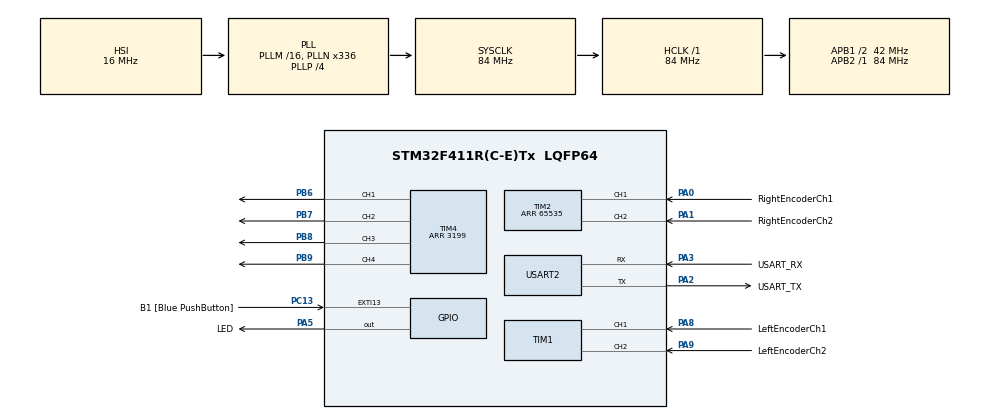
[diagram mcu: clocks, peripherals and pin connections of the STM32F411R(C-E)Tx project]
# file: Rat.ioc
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Mcu.Family=STM32F4
Mcu.Name=STM32F411R(C-E)Tx
Mcu.Package=LQFP64
NVIC.EXTI15_10_IRQn=true\:0\:0\:false\:false\:true\:true\:true\:true
NVIC.PriorityGroup=NVIC_PRIORITYGROUP_0
NVIC.TIM4_IRQn=true\:0\:0\:false\:false\:true\:true\:true\:true
PA0-WKUP.GPIO_Label=RightEncoderCh1
PA0-WKUP.Signal=S_TIM2_CH1_ETR
PA1.GPIO_Label=RightEncoderCh2
PA1.Signal=S_TIM2_CH2
PA13.GPIO_Label=TMS
PA13.Mode=Serial_Wire
PA13.Signal=SYS_JTMS-SWDIO
PA14.GPIO_Label=TCK
PA14.Mode=Serial_Wire
PA14.Signal=SYS_JTCK-SWCLK
PA2.GPIO_Label=USART_TX
PA2.Mode=Asynchronous
PA2.Signal=USART2_TX
PA3.GPIO_Label=USART_RX
PA3.Mode=Asynchronous
PA3.Signal=USART2_RX
PA5.GPIO_Label=LED
PA5.Signal=GPIO_Output
PA8.GPIO_Label=LeftEncoderCh1
PA8.Signal=S_TIM1_CH1
PA9.GPIO_Label=LeftEncoderCh2
PA9.Signal=S_TIM1_CH2
PB3.GPIO_Label=SWO
PB3.Signal=SYS_JTDO-SWO
PB6.Signal=S_TIM4_CH1
PB7.Signal=S_TIM4_CH2
PB8.Signal=S_TIM4_CH3
PB9.Signal=S_TIM4_CH4
PC13-ANTI_TAMP.GPIO_Label=B1 [Blue PushButton]
PC13-ANTI_TAMP.GPIO_ModeDefaultEXTI=GPIO_MODE_IT_RISING_FALLING
PC13-ANTI_TAMP.Signal=GPXTI13
PC14-OSC32_IN.Mode=LSE-External-Oscillator
PC14-OSC32_IN.Signal=RCC_OSC32_IN
PC15-OSC32_OUT.Mode=LSE-External-Oscillator
PC15-OSC32_OUT.Signal=RCC_OSC32_OUT
PH0\ -\ OSC_IN.Mode=HSE-External-Clock-Source
PH0\ -\ OSC_IN.Signal=RCC_OSC_IN
PH1\ -\ OSC_OUT.Mode=HSE-External-Clock-Source
PH1\ -\ OSC_OUT.Signal=RCC_OSC_OUT
ProjectManager.HeapSize=0x200
ProjectManager.StackSize=0x400
ProjectManager.TargetToolchain=STM32CubeIDE
RCC.48MHZClocksFreq_Value=84000000
RCC.AHBFreq_Value=84000000
RCC.APB1CLKDivider=RCC_HCLK_DIV2
RCC.APB1Freq_Value=42000000
RCC.APB1TimFreq_Value=84000000
RCC.APB2Freq_Value=84000000
RCC.APB2TimFreq_Value=84000000
RCC.CortexFreq_Value=84000000
RCC.FLatency-AdvancedSettings=FLASH_LATENCY_2
RCC.HCLKFreq_Value=84000000
RCC.HSE_VALUE=8000000
RCC.HSI_VALUE=16000000
RCC.PLLN=336
RCC.PLLP=RCC_PLLP_DIV4
RCC.SYSCLKFreq_VALUE=84000000
RCC.SYSCLKSource=RCC_SYSCLKSOURCE_PLLCLK
RCC.VCOOutputFreq_Value=336000000
SH.S_TIM1_CH1.0=TIM1_CH1,Encoder_Interface
SH.S_TIM1_CH2.0=TIM1_CH2,Encoder_Interface
SH.S_TIM2_CH1_ETR.0=TIM2_CH1,Encoder_Interface
SH.S_TIM2_CH2.0=TIM2_CH2,Encoder_Interface
SH.S_TIM4_CH1.0=TIM4_CH1,PWM Generation1 CH1
SH.S_TIM4_CH2.0=TIM4_CH2,PWM Generation2 CH2
SH.S_TIM4_CH3.0=TIM4_CH3,PWM Generation3 CH3
SH.S_TIM4_CH4.0=TIM4_CH4,PWM Generation4 CH4
TIM1.EncoderMode=TIM_ENCODERMODE_TI12
TIM2.EncoderMode=TIM_ENCODERMODE_TI12
TIM2.Period=65535
TIM4.Channel-PWM\ Generation1\ CH1=TIM_CHANNEL_1
TIM4.Channel-PWM\ Generation2\ CH2=TIM_CHANNEL_2
TIM4.Channel-PWM\ Generation3\ CH3=TIM_CHANNEL_3
TIM4.Channel-PWM\ Generation4\ CH4=TIM_CHANNEL_4
TIM4.Period=3199
USART2.VirtualMode=VM_ASYNC
board=NUCLEO-F411RE

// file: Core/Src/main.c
/* USER CODE BEGIN Header */
/**
  ******************************************************************************
  * @file           : main.c
  * @brief          : Main program body
  ******************************************************************************
  * @attention
  *
  * Copyright (c) 2023 STMicroelectronics.
  * All rights reserved.
  *
  * This software is licensed under terms that can be found in the LICENSE file
  * in the root directory of this software component.
  * If no LICENSE file comes with this software, it is provided AS-IS.
  *
  ******************************************************************************
  */
/* USER CODE END Header */

/* USER CODE BEGIN Includes */
#include "main.h"
#include "motors.h"
#include "encoders.h"
#include "controller.h"
/* USER CODE END Includes */

TIM_HandleTypeDef htim1;
TIM_HandleTypeDef htim2;
TIM_HandleTypeDef htim4;

UART_HandleTypeDef huart2;

/* USER CODE BEGIN PV */
int16_t left_counts = 0;
int16_t right_counts = 0;
/* USER CODE END PV */

void SystemClock_Config(void);
static void MX_GPIO_Init(void);
static void MX_USART2_UART_Init(void);
static void MX_TIM1_Init(void);
static void MX_TIM2_Init(void);
static void MX_TIM4_Init(void);

int main(void)
{

  /* MCU Configuration--------------------------------------------------------*/

  /* Reset of all peripherals, Initializes the Flash interface and the Systick. */
  HAL_Init();

  /* Configure the system clock */
  SystemClock_Config();

  /* Initialize all configured peripherals */
  MX_GPIO_Init();
  MX_USART2_UART_Init();
  MX_TIM1_Init();
  MX_TIM2_Init();
  MX_TIM4_Init();

  /* USER CODE BEGIN 2 */
  HAL_TIM_Encoder_Start(&htim1, TIM_CHANNEL_ALL);
  HAL_TIM_Encoder_Start(&htim2, TIM_CHANNEL_ALL);

  HAL_TIM_PWM_Start(&htim4, TIM_CHANNEL_1);
  HAL_TIM_PWM_Start(&htim4, TIM_CHANNEL_2);
  HAL_TIM_PWM_Start(&htim4, TIM_CHANNEL_3);
  HAL_TIM_PWM_Start(&htim4, TIM_CHANNEL_4);
  /* USER CODE END 2 */

  /* Infinite loop */
  /* USER CODE BEGIN WHILE */
  while (1)
  {
	  left_counts = getLeftEncoderCounts();
	  right_counts = getRightEncoderCounts();
    /* USER CODE END WHILE */

  }
}

void SystemClock_Config(void)
{
  RCC_OscInitTypeDef RCC_OscInitStruct = {0};
  RCC_ClkInitTypeDef RCC_ClkInitStruct = {0};

  /** Configure the main internal regulator output voltage
  */
  __HAL_RCC_PWR_CLK_ENABLE();
  __HAL_PWR_VOLTAGESCALING_CONFIG(PWR_REGULATOR_VOLTAGE_SCALE1);

  /** Initializes the RCC Oscillators according to the specified parameters
  * in the RCC_OscInitTypeDef structure.
  */
  RCC_OscInitStruct.OscillatorType = RCC_OSCILLATORTYPE_HSI;
  RCC_OscInitStruct.HSIState = RCC_HSI_ON;
  RCC_OscInitStruct.HSICalibrationValue = RCC_HSICALIBRATION_DEFAULT;
  RCC_OscInitStruct.PLL.PLLState = RCC_PLL_ON;
  RCC_OscInitStruct.PLL.PLLSource = RCC_PLLSOURCE_HSI;
  RCC_OscInitStruct.PLL.PLLM = 16;
  RCC_OscInitStruct.PLL.PLLN = 336;
  RCC_OscInitStruct.PLL.PLLP = RCC_PLLP_DIV4;
  RCC_OscInitStruct.PLL.PLLQ = 4;
  if (HAL_RCC_OscConfig(&RCC_OscInitStruct) != HAL_OK)
  {
    Error_Handler();
  }

  /** Initializes the CPU, AHB and APB buses clocks
  */
  RCC_ClkInitStruct.ClockType = RCC_CLOCKTYPE_HCLK|RCC_CLOCKTYPE_SYSCLK
                              |RCC_CLOCKTYPE_PCLK1|RCC_CLOCKTYPE_PCLK2;
  RCC_ClkInitStruct.SYSCLKSource = RCC_SYSCLKSOURCE_PLLCLK;
  RCC_ClkInitStruct.AHBCLKDivider = RCC_SYSCLK_DIV1;
  RCC_ClkInitStruct.APB1CLKDivider = RCC_HCLK_DIV2;
  RCC_ClkInitStruct.APB2CLKDivider = RCC_HCLK_DIV1;

  if (HAL_RCC_ClockConfig(&RCC_ClkInitStruct, FLASH_LATENCY_2) != HAL_OK)
  {
    Error_Handler();
  }
}

static void MX_TIM1_Init(void)
{

  TIM_Encoder_InitTypeDef sConfig = {0};
  TIM_MasterConfigTypeDef sMasterConfig = {0};

  htim1.Instance = TIM1;
  htim1.Init.Prescaler = 0;
  htim1.Init.CounterMode = TIM_COUNTERMODE_UP;
  htim1.Init.Period = 65535;
  htim1.Init.ClockDivision = TIM_CLOCKDIVISION_DIV1;
  htim1.Init.RepetitionCounter = 0;
  htim1.Init.AutoReloadPreload = TIM_AUTORELOAD_PRELOAD_DISABLE;
  sConfig.EncoderMode = TIM_ENCODERMODE_TI12;
  sConfig.IC1Polarity = TIM_ICPOLARITY_RISING;
  sConfig.IC1Selection = TIM_ICSELECTION_DIRECTTI;
  sConfig.IC1Prescaler = TIM_ICPSC_DIV1;
  sConfig.IC1Filter = 0;
  sConfig.IC2Polarity = TIM_ICPOLARITY_RISING;
  sConfig.IC2Selection = TIM_ICSELECTION_DIRECTTI;
  sConfig.IC2Prescaler = TIM_ICPSC_DIV1;
  sConfig.IC2Filter = 0;
  if (HAL_TIM_Encoder_Init(&htim1, &sConfig) != HAL_OK)
  {
    Error_Handler();
  }
  sMasterConfig.MasterOutputTrigger = TIM_TRGO_RESET;
  sMasterConfig.MasterSlaveMode = TIM_MASTERSLAVEMODE_DISABLE;
  if (HAL_TIMEx_MasterConfigSynchronization(&htim1, &sMasterConfig) != HAL_OK)
  {
    Error_Handler();
  }

}

static void MX_TIM2_Init(void)
{

  TIM_Encoder_InitTypeDef sConfig = {0};
  TIM_MasterConfigTypeDef sMasterConfig = {0};

  htim2.Instance = TIM2;
  htim2.Init.Prescaler = 0;
  htim2.Init.CounterMode = TIM_COUNTERMODE_UP;
  htim2.Init.Period = 65535;
  htim2.Init.ClockDivision = TIM_CLOCKDIVISION_DIV1;
  htim2.Init.AutoReloadPreload = TIM_AUTORELOAD_PRELOAD_DISABLE;
  sConfig.EncoderMode = TIM_ENCODERMODE_TI12;
  sConfig.IC1Polarity = TIM_ICPOLARITY_RISING;
  sConfig.IC1Selection = TIM_ICSELECTION_DIRECTTI;
  sConfig.IC1Prescaler = TIM_ICPSC_DIV1;
  sConfig.IC1Filter = 0;
  sConfig.IC2Polarity = TIM_ICPOLARITY_RISING;
  sConfig.IC2Selection = TIM_ICSELECTION_DIRECTTI;
  sConfig.IC2Prescaler = TIM_ICPSC_DIV1;
  sConfig.IC2Filter = 0;
  if (HAL_TIM_Encoder_Init(&htim2, &sConfig) != HAL_OK)
  {
    Error_Handler();
  }
  sMasterConfig.MasterOutputTrigger = TIM_TRGO_RESET;
  sMasterConfig.MasterSlaveMode = TIM_MASTERSLAVEMODE_DISABLE;
  if (HAL_TIMEx_MasterConfigSynchronization(&htim2, &sMasterConfig) != HAL_OK)
  {
    Error_Handler();
  }

}

static void MX_TIM4_Init(void)
{

  TIM_MasterConfigTypeDef sMasterConfig = {0};
  TIM_OC_InitTypeDef sConfigOC = {0};

  htim4.Instance = TIM4;
  htim4.Init.Prescaler = 0;
  htim4.Init.CounterMode = TIM_COUNTERMODE_UP;
  htim4.Init.Period = 3199;
  htim4.Init.ClockDivision = TIM_CLOCKDIVISION_DIV1;
  htim4.Init.AutoReloadPreload = TIM_AUTORELOAD_PRELOAD_DISABLE;
  if (HAL_TIM_PWM_Init(&htim4) != HAL_OK)
  {
    Error_Handler();
  }
  sMasterConfig.MasterOutputTrigger = TIM_TRGO_RESET;
  sMasterConfig.MasterSlaveMode = TIM_MASTERSLAVEMODE_DISABLE;
  if (HAL_TIMEx_MasterConfigSynchronization(&htim4, &sMasterConfig) != HAL_OK)
  {
    Error_Handler();
  }
  sConfigOC.OCMode = TIM_OCMODE_PWM1;
  sConfigOC.Pulse = 0;
  sConfigOC.OCPolarity = TIM_OCPOLARITY_HIGH;
  sConfigOC.OCFastMode = TIM_OCFAST_DISABLE;
  if (HAL_TIM_PWM_ConfigChannel(&htim4, &sConfigOC, TIM_CHANNEL_1) != HAL_OK)
  {
    Error_Handler();
  }
  if (HAL_TIM_PWM_ConfigChannel(&htim4, &sConfigOC, TIM_CHANNEL_2) != HAL_OK)
  {
    Error_Handler();
  }
  if (HAL_TIM_PWM_ConfigChannel(&htim4, &sConfigOC, TIM_CHANNEL_3) != HAL_OK)
  {
    Error_Handler();
  }
  if (HAL_TIM_PWM_ConfigChannel(&htim4, &sConfigOC, TIM_CHANNEL_4) != HAL_OK)
  {
    Error_Handler();
  }
  HAL_TIM_MspPostInit(&htim4);

}

static void MX_USART2_UART_Init(void)
{

  huart2.Instance = USART2;
  huart2.Init.BaudRate = 115200;
  huart2.Init.WordLength = UART_WORDLENGTH_8B;
  huart2.Init.StopBits = UART_STOPBITS_1;
  huart2.Init.Parity = UART_PARITY_NONE;
  huart2.Init.Mode = UART_MODE_TX_RX;
  huart2.Init.HwFlowCtl = UART_HWCONTROL_NONE;
  huart2.Init.OverSampling = UART_OVERSAMPLING_16;
  if (HAL_UART_Init(&huart2) != HAL_OK)
  {
    Error_Handler();
  }

}

static void MX_GPIO_Init(void)
{
  GPIO_InitTypeDef GPIO_InitStruct = {0};

  /* GPIO Ports Clock Enable */
  __HAL_RCC_GPIOC_CLK_ENABLE();
  __HAL_RCC_GPIOH_CLK_ENABLE();
  __HAL_RCC_GPIOA_CLK_ENABLE();
  __HAL_RCC_GPIOB_CLK_ENABLE();

  /*Configure GPIO pin Output Level */
  HAL_GPIO_WritePin(LED_GPIO_Port, LED_Pin, GPIO_PIN_RESET);

  /*Configure GPIO pin : B1_Pin */
  GPIO_InitStruct.Pin = B1_Pin;
  GPIO_InitStruct.Mode = GPIO_MODE_IT_RISING_FALLING;
  GPIO_InitStruct.Pull = GPIO_NOPULL;
  HAL_GPIO_Init(B1_GPIO_Port, &GPIO_InitStruct);

  /*Configure GPIO pin : LED_Pin */
  GPIO_InitStruct.Pin = LED_Pin;
  GPIO_InitStruct.Mode = GPIO_MODE_OUTPUT_PP;
  GPIO_InitStruct.Pull = GPIO_NOPULL;
  GPIO_InitStruct.Speed = GPIO_SPEED_FREQ_LOW;
  HAL_GPIO_Init(LED_GPIO_Port, &GPIO_InitStruct);

  /* EXTI interrupt init*/
  HAL_NVIC_SetPriority(EXTI15_10_IRQn, 0, 0);
  HAL_NVIC_EnableIRQ(EXTI15_10_IRQn);

}

/* USER CODE BEGIN 4 */
void HAL_GPIO_EXTI_Callback(uint16_t GPIO_PIN)
{
	if (GPIO_PIN == B1_Pin)
	{
		if(HAL_GPIO_ReadPin(GPIOA, LED_Pin) == GPIO_PIN_SET) {
			HAL_GPIO_WritePin(GPIOA, LED_Pin, GPIO_PIN_RESET);
		} else {
			HAL_GPIO_WritePin(GPIOA, LED_Pin, GPIO_PIN_SET);
		}
	}
}

/* USER CODE END 4 */

void Error_Handler(void)
{
  __disable_irq();
  while (1)
  {
  }
}
